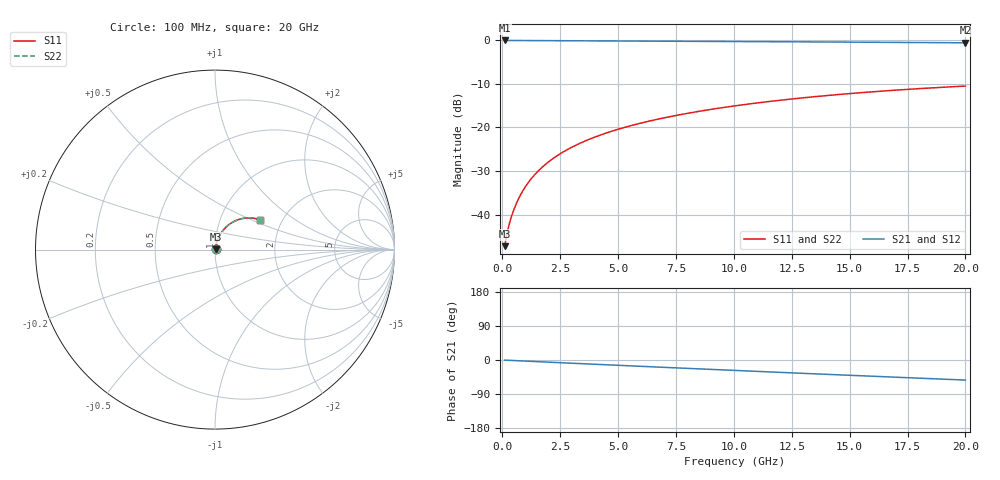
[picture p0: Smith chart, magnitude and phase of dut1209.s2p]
! Touchstone file exported from HFSS 2026.1.0
!  File:  C:/ffzhzh/LocalFiles/Ansys_Project_Files/temp_train_TMRDL_1209_1783163112_55132.aedt
!  Generated:  07:06:28 PM Jul  4, 2026
!  Design:  TMRDL
!  Project:  temp_train_TMRDL_1209_1783163112_55132
! Variables:
!  h_bsmrdl = 2um
!  h_ox = 20um
!  h_rdl = 5um
!  h_sub = 80um
!  h_tmrdl = 5.41um
!  h_tsv = 80um
!  h_via = 3um
!  l_bsmrdl = 300um
!  l_sub = 1307.92um
!  l_tmrdl = 907.92um
!  m_sub = 200um
!  pitch = 30.36um
!  r_tsv = 6um
!  s_tmrdl = 10um
!  w_bsmrdl = 18um
!  w_sub = 500um
!  w_tmrdl = 16.99um
!  x_tsv_center1 = 916.415um
!  x_tsv_center2 = 1234.415um
!  x_tsv_center3 = 2159.325um
!  x_tsv_center4 = 2477.325um
!  x_tsv_center5 = 3402.235um
!  x_tsv_center6 = 3720.235um
# GHz S MA R 50.000000
! Terminal data exported
! Port[1] = TM_RDL1_1_T1
! Port[2] = TM_RDL1_1_T2
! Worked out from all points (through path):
!   200 points, 100 MHz to 20 GHz, reference 50 ohm
!   highest |S21| = -0.03 dB at 100 MHz (marker M1); lowest = -0.6 dB at 20 GHz (marker M2)
!   group delay of S21, straight-line fit = 7.33 ps
!   lowest |S11| = -47.2 dB at 100 MHz (marker M3), VSWR 1.01, Z = 50.4 + j0.237 ohm
!   |S11| at or under -10 dB: start of sweep to end of sweep
!   |S22| runs from -47.2 to -10.5 dB; largest |S21 - S12| = 6.6e-15
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0.1  0.004351 32.7  0.9963 -0.3  0.9963 -0.3  0.004351 32.7
! Gamma 0 0 0 0
! Port Impedance 50 0 50 0
0.2  0.006002 48.8  0.9961 -0.6  0.9961 -0.6  0.006002 48.8
0.3  0.007786 57.0  0.9958 -0.9  0.9958 -0.9  0.007786 57.0
0.4  0.009598 62.2  0.9957 -1.2  0.9957 -1.2  0.009598 62.2
0.5  0.01144 65.7  0.9955 -1.5  0.9955 -1.5  0.01144 65.7
0.6  0.01331 68.3  0.9954 -1.7  0.9954 -1.7  0.01331 68.3
0.8  0.01711 71.7  0.9952 -2.3  0.9952 -2.3  0.01711 71.7
1  0.02097 73.7  0.9949 -2.9  0.9949 -2.9  0.02097 73.7
1.2  0.02486 74.8  0.9947 -3.5  0.9947 -3.5  0.02486 74.9
1.4  0.02875 75.5  0.9944 -4.0  0.9944 -4.0  0.02875 75.5
1.7  0.03458 75.9  0.9939 -4.9  0.9939 -4.9  0.03458 75.9
2.2  0.04423 75.8  0.9929 -6.3  0.9929 -6.3  0.04423 75.8
2.8  0.05562 74.9  0.9916 -8.0  0.9916 -8.0  0.05562 74.9
3.5  0.06861 73.5  0.9898 -9.9  0.9898 -9.9  0.06861 73.6
4.2  0.08128 72.0  0.988 -11.8  0.988 -11.8  0.08128 72.0
5  0.09541 70.1  0.9857 -14.0  0.9857 -14.0  0.09541 70.1
6.8  0.1259 65.8  0.9804 -18.9  0.9804 -18.9  0.126 65.8
8.3  0.1502 62.2  0.9758 -22.9  0.9758 -22.9  0.1502 62.2
10.1  0.1779 57.8  0.97 -27.7  0.97 -27.7  0.1779 57.8
13.4  0.2245 49.7  0.9587 -36.3  0.9587 -36.3  0.2245 49.8
16.7  0.2649 41.7  0.9473 -44.7  0.9473 -44.7  0.265 41.8
20  0.2989 33.8  0.9365 -53.0  0.9365 -53.0  0.2989 33.9
